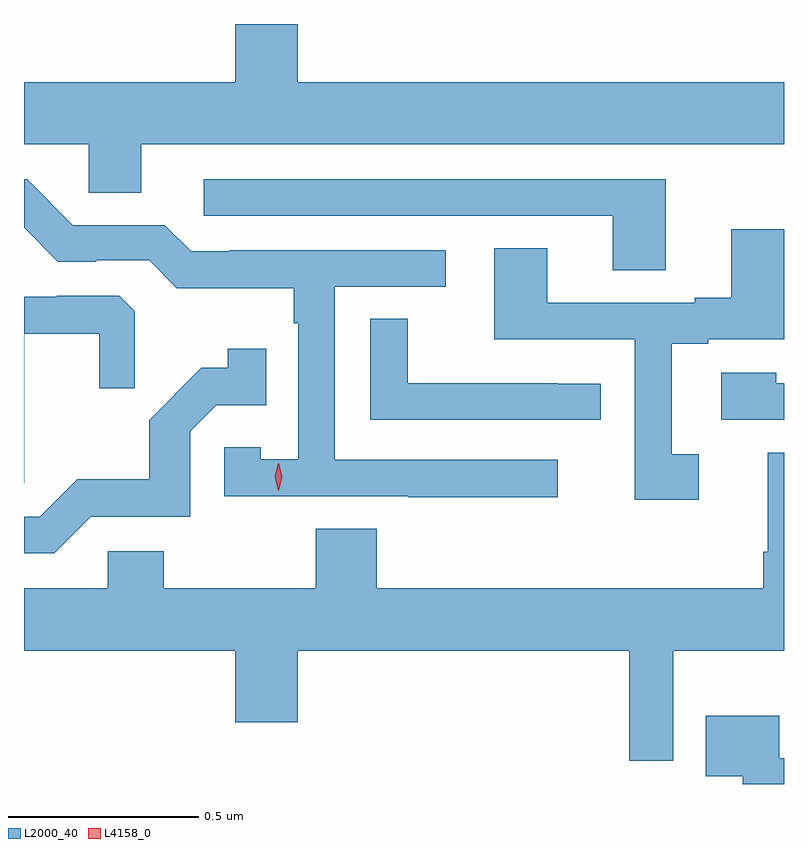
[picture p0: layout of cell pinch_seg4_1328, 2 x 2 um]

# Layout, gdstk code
import gdstk
lib = gdstk.Library(unit=1e-6, precision=1e-09)
def P(c, l, *ps):  # polygons
    for p in ps: c.add(gdstk.Polygon(p, *l))
L2000_40 = (2000, 40)
L4158_0 = (4158, 0)

pinch_seg4_1328 = lib.new_cell('pinch_seg4_1328')
P(pinch_seg4_1328, L2000_40, [(356.569,786.164),(358.26,786.164),(358.26,786.328),(356.98,786.328),(356.98,786.481),(356.816,786.481),(356.816,786.328),(356.26,786.328),(356.26,786.164),(356.43,786.164),(356.43,786.037),(356.569,786.037)],
  [(357.949,786.072),(356.733,786.072),(356.733,785.976),(357.809,785.976),(357.809,785.833),(357.949,785.833)],
  [(357.664,785.334),(357.078,785.334),(357.078,785.79),(357.37,785.79),(357.37,785.886),(356.8,785.886),(356.8,785.883),(356.7,785.883),(356.631,785.952),(356.388,785.952),(356.268,786.072),(356.26,786.072),(356.26,785.945),(356.349,785.856),(356.45,785.856),(356.45,785.859),(356.589,785.859),(356.662,785.786),(356.97,785.786),(356.97,785.693),(356.982,785.693),(356.982,785.335),(356.883,785.335),(356.883,785.367),(356.787,785.367),(356.787,785.238),(357.271,785.238),(357.271,785.236),(357.664,785.236)],
  [(358.036,785.349),(357.964,785.349),(357.964,785.64),(358.06,785.64),(358.06,785.652),(358.26,785.652),(358.26,785.941),(358.121,785.941),(358.121,785.761),(358.025,785.761),(358.025,785.748),(357.637,785.748),(357.637,785.891),(357.497,785.891),(357.497,785.652),(357.867,785.652),(357.867,785.229),(358.036,785.229)],
  [(356.261,785.666),(356.458,785.666),(356.458,785.523),(356.552,785.523),(356.552,785.725),(356.511,785.766),(356.346,785.766),(356.346,785.763),(356.26,785.763),(356.26,785.274),(356.261,785.274)],
  [(357.778,785.534),(357.665,785.534),(357.665,785.535),(357.27,785.535),(357.27,785.705),(357.171,785.705),(357.171,785.439),(357.778,785.439)],
  [(356.436,785.184),(356.697,785.184),(356.697,785.409),(356.766,785.478),(356.897,785.478),(356.897,785.626),(356.796,785.626),(356.796,785.576),(356.726,785.576),(356.589,785.438),(356.589,785.283),(356.4,785.283),(356.301,785.184),(356.26,785.184),(356.26,785.088),(356.34,785.088)],
  [(358.26,785.535),(358.239,785.535),(358.239,785.563),(358.095,785.563),(358.095,785.439),(358.26,785.439)],
  [(357.969,784.832),(358.26,784.832),(358.26,785.353),(358.217,785.353),(358.217,785.092),(358.205,785.092),(358.205,784.996),(357.188,784.996),(357.188,785.153),(357.028,785.153),(357.028,784.996),(356.628,784.996),(356.628,785.094),(356.481,785.094),(356.481,784.996),(356.26,784.996),(356.26,784.832),(356.816,784.832),(356.816,784.644),(356.98,784.644),(356.98,784.832),(357.853,784.832),(357.853,784.542),(357.969,784.542)],
  [(358.26,784.549),(358.248,784.549),(358.248,784.66),(358.054,784.66),(358.054,784.502),(358.151,784.502),(358.151,784.481),(358.26,784.481)])
P(pinch_seg4_1328, L4158_0, [(356.93,785.253),(356.929,785.254),(356.92,785.289),(356.929,785.325),(356.93,785.325),(356.93,785.325),(356.939,785.289),(356.93,785.254)])

lib.write_gds('pinch_seg4_1328.gds')
